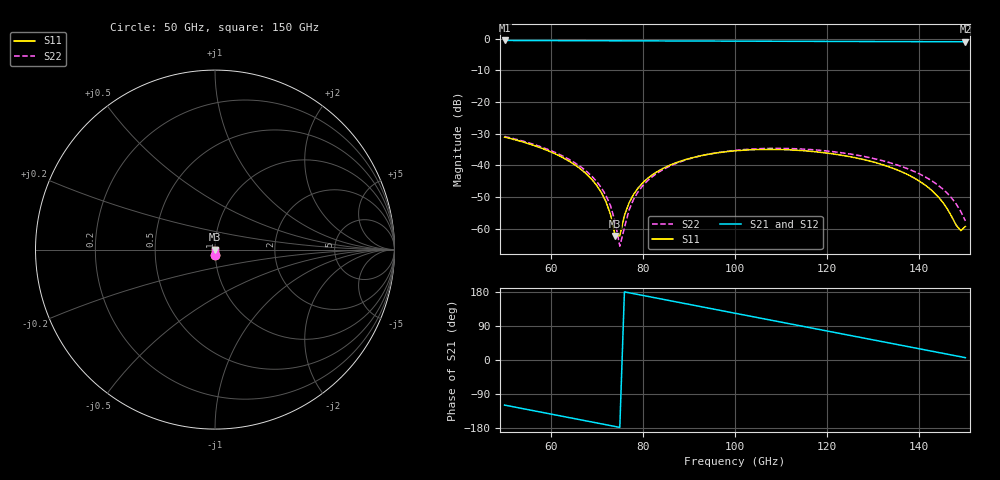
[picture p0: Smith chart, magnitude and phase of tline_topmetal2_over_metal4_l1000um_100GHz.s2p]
#  GHZ S DB R 50
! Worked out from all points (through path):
!   101 points, 50 GHz to 150 GHz, reference 50 ohm
!   highest |S21| = -0.59 dB at 50 GHz (marker M1); lowest = -1.0 dB at 150 GHz (marker M2)
!   group delay of S21, straight-line fit = 6.52 ps
!   lowest |S11| = -62.2 dB at 74 GHz (marker M3), VSWR 1.00, Z = 50 - j0.0751 ohm
!   |S11| at or under -10 dB: start of sweep to end of sweep
!   |S22| runs from -65.5 to -30.9 dB; largest |S21 - S12| = 1.1e-14
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50  -31.08 -93.9  -0.59 -119.0  -0.59 -119.0  -30.86 -94.3
60  -35.72 -116.9  -0.63 -142.6  -0.63 -142.6  -35.31 -117.7
67  -41.72 -131.7  -0.66 -159.0  -0.66 -159.0  -40.96 -133.0
70  -46.31 -136.1  -0.67 -166.1  -0.67 -166.1  -45.11 -138.2
72  -51.42 -135.3  -0.68 -170.8  -0.68 -170.8  -49.47 -139.5
73  -55.59 -129.7  -0.69 -173.1  -0.69 -173.1  -52.77 -137.8
74  -62.23 -103.8  -0.69 -175.5  -0.69 -175.5  -57.83 -129.4
75  -62.18 -23.5  -0.70 -177.8  -0.70 -177.8  -65.45 -79.5
76  -55.76 1.6  -0.70 179.8  -0.70 179.8  -59.67 -8.1
77  -51.80 7.1  -0.70 177.5  -0.70 177.5  -54.09 4.3
78  -49.09 8.2  -0.71 175.1  -0.71 175.1  -50.64 6.9
80  -45.45 6.7  -0.72 170.4  -0.72 170.4  -46.35 6.0
84  -41.22 -0.5  -0.73 161.0  -0.73 161.0  -41.62 -1.1
91  -37.47 -16.0  -0.76 144.6  -0.76 144.6  -37.54 -16.7
100  -35.39 -36.9  -0.80 123.4  -0.80 123.4  -35.24 -37.8
109  -34.97 -57.8  -0.84 102.3  -0.84 102.3  -34.61 -58.9
117  -35.62 -76.1  -0.87 83.5  -0.87 83.5  -35.05 -77.6
134  -40.74 -113.4  -0.94 43.7  -0.94 43.7  -39.30 -116.4
140  -44.93 -124.2  -0.96 29.6  -0.96 29.6  -42.65 -129.1
144  -49.72 -126.8  -0.98 20.2  -0.98 20.2  -46.15 -136.1
149  -60.55 -68.7  -1.00 8.5  -1.00 8.5  -54.51 -133.5
150  -59.23 -37.5  -1.00 6.2  -1.00 6.2  -57.49 -125.1
